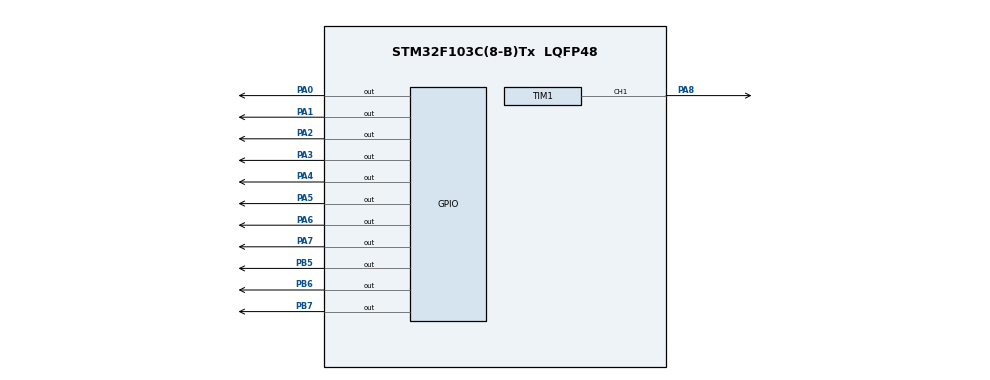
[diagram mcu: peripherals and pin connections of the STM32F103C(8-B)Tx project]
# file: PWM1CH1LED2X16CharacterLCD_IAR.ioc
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Mcu.Family=STM32F1
Mcu.Name=STM32F103C(8-B)Tx
Mcu.Package=LQFP48
NVIC.PriorityGroup=NVIC_PRIORITYGROUP_4
PA0-WKUP.Signal=GPIO_Output
PA1.Signal=GPIO_Output
PA13.Mode=Serial_Wire
PA13.Signal=SYS_JTMS-SWDIO
PA14.Mode=Serial_Wire
PA14.Signal=SYS_JTCK-SWCLK
PA2.Signal=GPIO_Output
PA3.Signal=GPIO_Output
PA4.Signal=GPIO_Output
PA5.Signal=GPIO_Output
PA6.Signal=GPIO_Output
PA7.Signal=GPIO_Output
PA8.Signal=S_TIM1_CH1
PB5.Signal=GPIO_Output
PB6.Signal=GPIO_Output
PB7.Signal=GPIO_Output
PD0-OSC_IN.Mode=HSE-External-Oscillator
PD0-OSC_IN.Signal=RCC_OSC_IN
PD1-OSC_OUT.Mode=HSE-External-Oscillator
PD1-OSC_OUT.Signal=RCC_OSC_OUT
ProjectManager.HeapSize=0x200
ProjectManager.StackSize=0x400
ProjectManager.TargetToolchain=EWARM V8.32
RCC.APB1Freq_Value=8000000
RCC.APB2Freq_Value=8000000
RCC.SYSCLKSource=RCC_SYSCLKSOURCE_HSE
SH.S_TIM1_CH1.0=TIM1_CH1,PWM Generation1 CH1
TIM1.Channel-PWM\ Generation1\ CH1=TIM_CHANNEL_1
TIM1.Period=255
VP_TIM1_VS_ClockSourceINT.Mode=Internal
board=custom

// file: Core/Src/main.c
/* USER CODE BEGIN Header */
/**
  ******************************************************************************
  * @file           : main.c
  * @brief          : Main program body
  ******************************************************************************
  * @attention
  *
  * Copyright (c) 2023 STMicroelectronics.
  * All rights reserved.
  *
  * This software is licensed under terms that can be found in the LICENSE file
  * in the root directory of this software component.
  * If no LICENSE file comes with this software, it is provided AS-IS.
  *
  ******************************************************************************
  */
/* USER CODE END Header */
#include "main.h"

/* USER CODE BEGIN Includes */

#include "LCD/lcd.h"
#include <stdio.h>

/* USER CODE END Includes */

TIM_HandleTypeDef htim1;

void SystemClock_Config(void);
static void MX_GPIO_Init(void);
static void MX_TIM1_Init(void);

int main(void)
{
  /* USER CODE BEGIN 1 */

  char str[17];
  int i = 0;

  /* USER CODE END 1 */

  /* MCU Configuration--------------------------------------------------------*/

  /* Reset of all peripherals, Initializes the Flash interface and the Systick. */
  HAL_Init();

  /* Configure the system clock */
  SystemClock_Config();

  /* Initialize all configured peripherals */
  MX_GPIO_Init();
  MX_TIM1_Init();
  /* USER CODE BEGIN 2 */

  lcd_init();
  lcd_clear();

  lcd_gotoxy(0,0);
  lcd_puts("  dibadigital  ");
  HAL_Delay(2000);
  lcd_clear();

  HAL_TIM_PWM_Start(&htim1, TIM_CHANNEL_1);

  /* USER CODE END 2 */

  /* Infinite loop */
  /* USER CODE BEGIN WHILE */
  while (1)
  {
    __HAL_TIM_SET_COMPARE(&htim1, TIM_CHANNEL_1, i);

    sprintf(str,"cnt_val= %03d", i);
    lcd_gotoxy(0, 0);
    lcd_puts(str);

    sprintf(str,"duty= %05.2f", 100.0*(i/255.0));
    lcd_gotoxy(0, 1);
    lcd_puts(str);

    HAL_Delay(500);

    i += 60;
    if(i > 255)
      i = 0;

    /* USER CODE END WHILE */

  }
}

void SystemClock_Config(void)
{
  RCC_OscInitTypeDef RCC_OscInitStruct = {0};
  RCC_ClkInitTypeDef RCC_ClkInitStruct = {0};

  /** Initializes the RCC Oscillators according to the specified parameters
  * in the RCC_OscInitTypeDef structure.
  */
  RCC_OscInitStruct.OscillatorType = RCC_OSCILLATORTYPE_HSE;
  RCC_OscInitStruct.HSEState = RCC_HSE_ON;
  RCC_OscInitStruct.PLL.PLLState = RCC_PLL_NONE;
  if (HAL_RCC_OscConfig(&RCC_OscInitStruct) != HAL_OK)
  {
    Error_Handler();
  }

  /** Initializes the CPU, AHB and APB buses clocks
  */
  RCC_ClkInitStruct.ClockType = RCC_CLOCKTYPE_HCLK|RCC_CLOCKTYPE_SYSCLK
                              |RCC_CLOCKTYPE_PCLK1|RCC_CLOCKTYPE_PCLK2;
  RCC_ClkInitStruct.SYSCLKSource = RCC_SYSCLKSOURCE_HSE;
  RCC_ClkInitStruct.AHBCLKDivider = RCC_SYSCLK_DIV1;
  RCC_ClkInitStruct.APB1CLKDivider = RCC_HCLK_DIV1;
  RCC_ClkInitStruct.APB2CLKDivider = RCC_HCLK_DIV1;

  if (HAL_RCC_ClockConfig(&RCC_ClkInitStruct, FLASH_LATENCY_0) != HAL_OK)
  {
    Error_Handler();
  }
}

static void MX_TIM1_Init(void)
{

  TIM_ClockConfigTypeDef sClockSourceConfig = {0};
  TIM_MasterConfigTypeDef sMasterConfig = {0};
  TIM_OC_InitTypeDef sConfigOC = {0};
  TIM_BreakDeadTimeConfigTypeDef sBreakDeadTimeConfig = {0};

  htim1.Instance = TIM1;
  htim1.Init.Prescaler = 0;
  htim1.Init.CounterMode = TIM_COUNTERMODE_UP;
  htim1.Init.Period = 255;
  htim1.Init.ClockDivision = TIM_CLOCKDIVISION_DIV1;
  htim1.Init.RepetitionCounter = 0;
  htim1.Init.AutoReloadPreload = TIM_AUTORELOAD_PRELOAD_DISABLE;
  if (HAL_TIM_Base_Init(&htim1) != HAL_OK)
  {
    Error_Handler();
  }
  sClockSourceConfig.ClockSource = TIM_CLOCKSOURCE_INTERNAL;
  if (HAL_TIM_ConfigClockSource(&htim1, &sClockSourceConfig) != HAL_OK)
  {
    Error_Handler();
  }
  if (HAL_TIM_PWM_Init(&htim1) != HAL_OK)
  {
    Error_Handler();
  }
  sMasterConfig.MasterOutputTrigger = TIM_TRGO_RESET;
  sMasterConfig.MasterSlaveMode = TIM_MASTERSLAVEMODE_DISABLE;
  if (HAL_TIMEx_MasterConfigSynchronization(&htim1, &sMasterConfig) != HAL_OK)
  {
    Error_Handler();
  }
  sConfigOC.OCMode = TIM_OCMODE_PWM1;
  sConfigOC.Pulse = 0;
  sConfigOC.OCPolarity = TIM_OCPOLARITY_HIGH;
  sConfigOC.OCNPolarity = TIM_OCNPOLARITY_HIGH;
  sConfigOC.OCFastMode = TIM_OCFAST_DISABLE;
  sConfigOC.OCIdleState = TIM_OCIDLESTATE_RESET;
  sConfigOC.OCNIdleState = TIM_OCNIDLESTATE_RESET;
  if (HAL_TIM_PWM_ConfigChannel(&htim1, &sConfigOC, TIM_CHANNEL_1) != HAL_OK)
  {
    Error_Handler();
  }
  sBreakDeadTimeConfig.OffStateRunMode = TIM_OSSR_DISABLE;
  sBreakDeadTimeConfig.OffStateIDLEMode = TIM_OSSI_DISABLE;
  sBreakDeadTimeConfig.LockLevel = TIM_LOCKLEVEL_OFF;
  sBreakDeadTimeConfig.DeadTime = 0;
  sBreakDeadTimeConfig.BreakState = TIM_BREAK_DISABLE;
  sBreakDeadTimeConfig.BreakPolarity = TIM_BREAKPOLARITY_HIGH;
  sBreakDeadTimeConfig.AutomaticOutput = TIM_AUTOMATICOUTPUT_DISABLE;
  if (HAL_TIMEx_ConfigBreakDeadTime(&htim1, &sBreakDeadTimeConfig) != HAL_OK)
  {
    Error_Handler();
  }
  HAL_TIM_MspPostInit(&htim1);

}

static void MX_GPIO_Init(void)
{
  GPIO_InitTypeDef GPIO_InitStruct = {0};

  /* GPIO Ports Clock Enable */
  __HAL_RCC_GPIOD_CLK_ENABLE();
  __HAL_RCC_GPIOA_CLK_ENABLE();
  __HAL_RCC_GPIOB_CLK_ENABLE();

  /*Configure GPIO pin Output Level */
  HAL_GPIO_WritePin(GPIOA, GPIO_PIN_0|GPIO_PIN_1|GPIO_PIN_2|GPIO_PIN_3
                          |GPIO_PIN_4|GPIO_PIN_5|GPIO_PIN_6|GPIO_PIN_7, GPIO_PIN_RESET);

  /*Configure GPIO pin Output Level */
  HAL_GPIO_WritePin(GPIOB, GPIO_PIN_5|GPIO_PIN_6|GPIO_PIN_7, GPIO_PIN_RESET);

  /*Configure GPIO pins : PA0 PA1 PA2 PA3
                           PA4 PA5 PA6 PA7 */
  GPIO_InitStruct.Pin = GPIO_PIN_0|GPIO_PIN_1|GPIO_PIN_2|GPIO_PIN_3
                          |GPIO_PIN_4|GPIO_PIN_5|GPIO_PIN_6|GPIO_PIN_7;
  GPIO_InitStruct.Mode = GPIO_MODE_OUTPUT_PP;
  GPIO_InitStruct.Pull = GPIO_NOPULL;
  GPIO_InitStruct.Speed = GPIO_SPEED_FREQ_LOW;
  HAL_GPIO_Init(GPIOA, &GPIO_InitStruct);

  /*Configure GPIO pins : PB5 PB6 PB7 */
  GPIO_InitStruct.Pin = GPIO_PIN_5|GPIO_PIN_6|GPIO_PIN_7;
  GPIO_InitStruct.Mode = GPIO_MODE_OUTPUT_PP;
  GPIO_InitStruct.Pull = GPIO_NOPULL;
  GPIO_InitStruct.Speed = GPIO_SPEED_FREQ_LOW;
  HAL_GPIO_Init(GPIOB, &GPIO_InitStruct);

}

void Error_Handler(void)
{
  __disable_irq();
  while (1)
  {
  }
}
